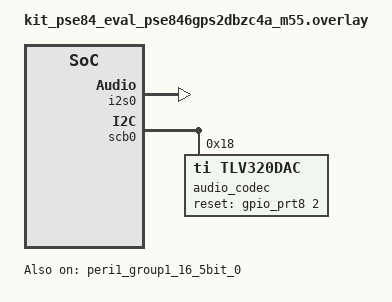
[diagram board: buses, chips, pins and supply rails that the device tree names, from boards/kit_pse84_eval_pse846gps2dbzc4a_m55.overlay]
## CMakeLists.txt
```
# SPDX-License-Identifier: Apache-2.0

cmake_minimum_required(VERSION 3.28.0)

find_package(Zephyr REQUIRED HINTS $ENV{ZEPHYR_BASE})
project(i2s_rx_tx)

target_sources(app PRIVATE src/main.c)
```

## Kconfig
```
# Copyright (c) 2024 NXP
# SPDX-License-Identifier: Apache-2.0

source "Kconfig.zephyr"

config I2S_INIT_BUFFERS
	int "Initial count of audio data blocks"
	default 4
	help
	  Controls the initial count of audio data blocks, which are (optionally)
	  filled by data from the DMIC peripheral and played back by the I2S
	  output peripheral.

config SAMPLE_FREQ
	int "Sample rate"
	default 16000
	help
	  Sample frequency of the system.

config I2S_MCLK_FREQUENCY
	int "MCLK input frequency in Hz"
	default 0
	help
	  Assigns the mclk_freq value in the audio_codec_cfg struct. Some codec
	  drivers depend on this being set.

config SAMPLE_USE_CODEC_CLOCK
	bool "I2S BCK is generated by a selected codec device"
	help
	  If selected, the I2S selected peripheral will be configured to consume
	  (receive) the I2S BCK and WS signals and the codec will be configured
	  to generate those. If not selected, the I2S peripheral will generate
	  them and the codec will be expected to consume them.

config EXTRA_BLOCKS
	int "Number of extra blocks"
	default 32
	help
	  Extra blocks for storing PCM sample.

config SAMPLE_WIDTH
	int "Sample bit width"
	default 16
	help
	  PCM sample bit width.

config BYTES_PER_SAMPLE
	int "Bytes per sample"
	default 2
	help
	  Number of bytes per PCM sample.

config USE_DMIC
	bool "Use DMIC as an audio input"

if USE_DMIC

config DMIC_CHANNELS
	int "Number of DMIC channels"
	default 1
	help
	  Count of DMIC channels to capture and process.

endif
```

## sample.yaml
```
sample:
  name: codec sample
tests:
  sample.drivers.i2s.codec:
    tags: i2s
    platform_allow:
      - mimxrt595_evk/mimxrt595s/cm33
      - mimxrt1170_evk@B/mimxrt1176/cm7
      - mimxrt700_evk/mimxrt798s/cm33_cpu0
      - mimxrt1060_evk/mimxrt1062/qspi
      - mimxrt1180_evk/mimxrt1189/cm33
      - mimxrt1180_evk/mimxrt1189/cm7
      - mcx_n5xx_evk/mcxn547/cpu0
      - lpcxpresso55s69/lpc55s69/cpu0
      - rd_rw612_bga
    harness: console
    harness_config:
      type: one_line
      regex:
        - "start streams"
```

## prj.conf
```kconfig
CONFIG_AUDIO=y
CONFIG_I2S=y
CONFIG_AUDIO=y
CONFIG_AUDIO_DMIC=y
CONFIG_AUDIO_CODEC=y
```

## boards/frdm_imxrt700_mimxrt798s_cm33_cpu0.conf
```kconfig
#
# SPDX-FileCopyrightText: Copyright 2026 NXP
#
# SPDX-License-Identifier: Apache-2.0
#

CONFIG_I2S_INIT_BUFFERS=2
CONFIG_EXTRA_BLOCKS=10
CONFIG_USE_DMIC=y
CONFIG_DMIC_CHANNELS=2
CONFIG_SAMPLE_USE_CODEC_CLOCK=n
CONFIG_SAMPLE_WIDTH=32
CONFIG_BYTES_PER_SAMPLE=4
```

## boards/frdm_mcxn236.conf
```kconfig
# Copyright 2025 NXP
#
# SPDX-License-Identifier: Apache-2.0

CONFIG_SAMPLE_FREQ=16000
CONFIG_I2S_INIT_BUFFERS=1
CONFIG_USE_CODEC_CLOCK=y
CONFIG_USE_DMIC=y
CONFIG_DMIC_CHANNELS=1
CONFIG_EXTRA_BLOCKS=10
CONFIG_SAMPLE_WIDTH=32
CONFIG_BYTES_PER_SAMPLE=4
```

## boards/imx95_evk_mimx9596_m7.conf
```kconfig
# Copyright 2026 NXP
# SPDX-License-Identifier: Apache-2.0
CONFIG_NOCACHE_MEMORY=y
CONFIG_I2S_HAS_PLL_SETTING=n
CONFIG_GPIO=y
CONFIG_GPIO_PCAL64XXA=y
CONFIG_SAMPLE_FREQ=16000
CONFIG_EXTRA_BLOCKS=2
CONFIG_I2S_INIT_BUFFERS=2
CONFIG_USE_DMIC=y
CONFIG_DMIC_CHANNELS=2
CONFIG_SAMPLE_WIDTH=32
CONFIG_BYTES_PER_SAMPLE=4
```

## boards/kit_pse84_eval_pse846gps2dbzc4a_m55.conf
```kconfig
# SPDX-FileCopyrightText: Copyright (c) 2026 Infineon Technologies AG,
# SPDX-FileCopyrightText: or an affiliate of Infineon Technologies AG. All rights reserved.
#
# SPDX-License-Identifier: Apache-2.0

CONFIG_I2S_MCLK_FREQUENCY=10240000
```

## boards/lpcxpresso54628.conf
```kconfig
# SPDX-FileCopyrightText: Copyright The Zephyr Project Contributors
# SPDX-License-Identifier: Apache-2.0

# Sample rate decreased because of memory size
CONFIG_SAMPLE_FREQ=8000
```

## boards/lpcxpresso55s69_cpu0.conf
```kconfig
#
# Copyright 2025 NXP
#
# SPDX-License-Identifier: Apache-2.0
#

CONFIG_SAMPLE_USE_CODEC_CLOCK=y

# Sample rate decreased because of memory size
CONFIG_SAMPLE_FREQ=8000
```

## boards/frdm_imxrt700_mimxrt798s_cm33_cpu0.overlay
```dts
/*
 * SPDX-FileCopyrightText: Copyright 2026 NXP
 *
 * SPDX-License-Identifier: Apache-2.0
 */

/ {
	aliases {
		dmic0 = &dmic_dev;
		i2s-codec-tx = &sai0;
		i2s-tx = &sai0;
	};
};

&sai0 {
	mclk-output;
};

dmic_dev: &micfil {
	status = "okay";
};

&channel0 {
	status = "okay";
};

&channel1 {
	status = "okay";
};
```

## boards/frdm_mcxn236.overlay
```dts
/*
 * Copyright 2025 NXP
 *
 * SPDX-License-Identifier: Apache-2.0
 */

/* Note: The DA7212 codec is not populated on this board by default.
 * Refer to the board MCX_N5XX_EVK to use this sample with the same codec.
 */

/ {
	aliases {
		dmic0 = &dmic_dev;
		i2s-codec-tx = &sai1;
		i2s-tx = &sai1;
	};
};

&sai1 {
	mclk-output;
};

dmic_dev: &micfil {
	channel0: micfil-channel@0 {
		status = "okay";
	};

	channel1: micfil-channel@1 {
		status = "okay";
	};
};
```

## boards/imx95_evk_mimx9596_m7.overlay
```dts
/*
 * SPDX-FileCopyrightText: Copyright 2026 NXP
 *
 * SPDX-License-Identifier: Apache-2.0
 */

/ {
	aliases {
		dmic0 = &dmic_dev;
	};
};

/*
 * MICFIL (PDM) shares pins with FLEXCAN1 on the i.MX95 EVK. Disable
 * FLEXCAN1 so the PDM_CLK/PDM_BIT_STREAM0 pins can be used for MICFIL.
 */
&flexcan1 {
	status = "disabled";
};

dmic_dev: &pdm {
	status = "okay";

	channel0: pdm-channel@0 {
		status = "okay";
	};

	channel1: pdm-channel@1 {
		status = "okay";
	};
};
```

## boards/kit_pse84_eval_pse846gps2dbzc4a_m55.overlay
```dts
/*
 * SPDX-FileCopyrightText: Copyright (c) 2026 Infineon Technologies AG,
 * SPDX-FileCopyrightText: or an affiliate of Infineon Technologies AG. All rights reserved.
 *
 * SPDX-License-Identifier: Apache-2.0
 */

/ {
	aliases {
		i2s-codec-tx = &i2s0;
		i2c-dev = &i2c0;
	};
};

&i2s0 {
	pinctrl-0 = <&p21_3_tdm_i2s0_tx_mck &p21_2_tdm_i2s0_tx_sck
		     &p12_3_tdm_i2s0_tx_fsync &p21_1_tdm_i2s0_tx_sd>;
	pinctrl-names = "default";
	clocks = <&peri1_group1_16_5bit_0>;

	dmas = <&dma0 0>, <&dma0 1>;
	dma-names = "tx", "rx";
	status = "okay";
};

&dma0 {
	status = "okay";
};

&clk_hf7 {
	source-path = <IFX_CLK_HF_IN_CLKPATH3>;
	status = "okay";
};

&peri1_group1_16_5bit_0 {
	clock-div = <4>;
	div-frac-value = <28>;
	status = "okay";
};

&gpio_prt12 {
	status = "okay";
};

&gpio_prt21 {
	status = "okay";
};

&p21_3_tdm_i2s0_tx_mck {
	drive-push-pull;
	drive-strength = "half";
};

&p21_2_tdm_i2s0_tx_sck {
	drive-push-pull;
	drive-strength = "half";
};

&p12_3_tdm_i2s0_tx_fsync {
	drive-push-pull;
	drive-strength = "half";
};

&p21_1_tdm_i2s0_tx_sd {
	drive-push-pull;
	drive-strength = "half";
};

i2c0: &scb0 {
	audio_codec: tlv320dac@18 {
		compatible = "ti,tlv320dac";
		reg = <0x18>;
		reset-gpios = <&gpio_prt8 2 GPIO_ACTIVE_HIGH>;
		speaker-gain = <24>;
		status = "okay";
	};
};
```

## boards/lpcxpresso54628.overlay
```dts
/*
 * SPDX-FileCopyrightText: Copyright The Zephyr Project Contributors
 * SPDX-License-Identifier: Apache-2.0
 */

/ {
	aliases {
		i2s-codec-tx = &i2s_tx;
	};
};
```

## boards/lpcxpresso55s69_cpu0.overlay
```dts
/*
 * Copyright 2025 NXP
 *
 * SPDX-License-Identifier: Apache-2.0
 */

/ {
	aliases {
		i2s-codec-rx = &flexcomm6;
		i2s-codec-tx = &flexcomm7;
	};
};
```

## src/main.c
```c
/*
 * Copyright 2024-2025 NXP
 *
 * SPDX-License-Identifier: Apache-2.0
 */

#include <zephyr/kernel.h>
#include <zephyr/sys/printk.h>
#include <zephyr/audio/dmic.h>
#include <zephyr/drivers/i2s.h>
#include <zephyr/audio/codec.h>
#include <zephyr/toolchain.h>
#include <string.h>

#ifndef CONFIG_USE_DMIC
#include "sine.h"
#endif

#define I2S_CODEC_TX DT_ALIAS(i2s_codec_tx)

#define SAMPLE_FREQUENCY CONFIG_SAMPLE_FREQ
#define SAMPLE_BIT_WIDTH CONFIG_SAMPLE_WIDTH
#define BYTES_PER_SAMPLE CONFIG_BYTES_PER_SAMPLE
#if CONFIG_USE_DMIC
#define NUMBER_OF_CHANNELS CONFIG_DMIC_CHANNELS
#else
#define NUMBER_OF_CHANNELS (2U)
#endif
/* Such block length provides an echo with the delay of 100 ms. */
#define SAMPLES_PER_BLOCK ((SAMPLE_FREQUENCY / 10) * NUMBER_OF_CHANNELS)
#define INITIAL_BLOCKS    CONFIG_I2S_INIT_BUFFERS
#define TIMEOUT           (2000U)

#define BLOCK_SIZE  (BYTES_PER_SAMPLE * SAMPLES_PER_BLOCK)
#define BLOCK_COUNT (INITIAL_BLOCKS + CONFIG_EXTRA_BLOCKS)

K_MEM_SLAB_DEFINE_IN_SECT_STATIC(mem_slab, __nocache, BLOCK_SIZE, BLOCK_COUNT, 4);

static bool configure_tx_streams(const struct device *i2s_dev, struct i2s_config *config)
{
	int ret;

	ret = i2s_configure(i2s_dev, I2S_DIR_TX, config);
	if (ret < 0) {
		printk("Failed to configure codec stream: %d\n", ret);
		return false;
	}

	return true;
}

static bool trigger_command(const struct device *i2s_dev_codec, enum i2s_trigger_cmd cmd)
{
	int ret;

	ret = i2s_trigger(i2s_dev_codec, I2S_DIR_TX, cmd);
	if (ret < 0) {
		printk("Failed to trigger command %d on TX: %d\n", cmd, ret);
		return false;
	}

	return true;
}

int main(void)
{
	const struct device *const i2s_dev_codec = DEVICE_DT_GET(I2S_CODEC_TX);
#if CONFIG_USE_DMIC
	const struct device *const dmic_dev = DEVICE_DT_GET(DT_ALIAS(dmic0));
#endif
	const struct device *const codec_dev = DEVICE_DT_GET(DT_NODELABEL(audio_codec));
	struct i2s_config config = {0};
	struct audio_codec_cfg audio_cfg;
	int ret = 0;

#if CONFIG_USE_DMIC
	struct pcm_stream_cfg stream = {
		.pcm_width = SAMPLE_BIT_WIDTH,
		.mem_slab = &mem_slab,
	};
	struct dmic_cfg cfg = {
		.io = {
			/* These fields can be used to limit the PDM clock
			 * configurations that the driver is allowed to use
			 * to those supported by the microphone.
			 */
			.min_pdm_clk_freq = 1000000,
			.max_pdm_clk_freq = 3500000,
			.min_pdm_clk_dc   = 40,
			.max_pdm_clk_dc   = 60,
		},
		.streams = &stream,
		.channel = {
			.req_num_streams = 1,
		},
	};
#endif
	printk("codec sample\n");

#if CONFIG_USE_DMIC
	if (!device_is_ready(dmic_dev)) {
		printk("%s is not ready", dmic_dev->name);
		return 0;
	}
#endif

	if (!device_is_ready(i2s_dev_codec)) {
		printk("%s is not ready\n", i2s_dev_codec->name);
		return 0;
	}

	if (!device_is_ready(codec_dev)) {
		printk("%s is not ready", codec_dev->name);
		return 0;
	}
	audio_cfg.dai_route = AUDIO_ROUTE_PLAYBACK;
	audio_cfg.dai_type = AUDIO_DAI_TYPE_I2S;
	audio_cfg.dai_cfg.i2s.word_size = SAMPLE_BIT_WIDTH;
	audio_cfg.dai_cfg.i2s.channels = 2;
	audio_cfg.dai_cfg.i2s.format = I2S_FMT_DATA_FORMAT_I2S;
#ifdef CONFIG_SAMPLE_USE_CODEC_CLOCK
	audio_cfg.dai_cfg.i2s.options = I2S_OPT_FRAME_CLK_CONTROLLER |
					 I2S_OPT_BIT_CLK_CONTROLLER;
#else
	audio_cfg.dai_cfg.i2s.options = I2S_OPT_FRAME_CLK_TARGET |
					 I2S_OPT_BIT_CLK_TARGET;
#endif
	audio_cfg.dai_cfg.i2s.frame_clk_freq = SAMPLE_FREQUENCY;
	audio_cfg.dai_cfg.i2s.mem_slab = &mem_slab;
	audio_cfg.dai_cfg.i2s.block_size = BLOCK_SIZE;
	audio_cfg.mclk_freq = CONFIG_I2S_MCLK_FREQUENCY;
	ret = audio_codec_configure(codec_dev, &audio_cfg);
	if (ret < 0) {
		printk("Failed to configure codec: %d\n", ret);
		return ret;
	}
	k_msleep(1000);
	audio_codec_start_output(codec_dev);

#if CONFIG_USE_DMIC
	cfg.channel.req_num_chan = 2;
	cfg.channel.req_chan_map_lo = dmic_build_channel_map(0, 0, PDM_CHAN_LEFT) |
				      dmic_build_channel_map(1, 0, PDM_CHAN_RIGHT);
	cfg.streams[0].pcm_rate = SAMPLE_FREQUENCY;
	cfg.streams[0].block_size = BLOCK_SIZE;

	printk("PCM output rate: %u, channels: %u\n", cfg.streams[0].pcm_rate,
	       cfg.channel.req_num_chan);

	ret = dmic_configure(dmic_dev, &cfg);
	if (ret < 0) {
		printk("Failed to configure the driver: %d", ret);
		return ret;
	}
#endif

	config.word_size = SAMPLE_BIT_WIDTH;
	config.channels = NUMBER_OF_CHANNELS;
	config.format = I2S_FMT_DATA_FORMAT_I2S;
#ifdef CONFIG_SAMPLE_USE_CODEC_CLOCK
	config.options = I2S_OPT_BIT_CLK_TARGET | I2S_OPT_FRAME_CLK_TARGET;
#else
	config.options = I2S_OPT_BIT_CLK_CONTROLLER | I2S_OPT_FRAME_CLK_CONTROLLER;
#endif
	config.frame_clk_freq = SAMPLE_FREQUENCY;
	config.mem_slab = &mem_slab;
	config.block_size = BLOCK_SIZE;
	config.timeout = TIMEOUT;
	if (!configure_tx_streams(i2s_dev_codec, &config)) {
		printk("failure to config streams\n");
		return 0;
	}

	printk("start streams\n");
	for (;;) {
		bool started = false;
#if CONFIG_USE_DMIC
		ret = dmic_trigger(dmic_dev, DMIC_TRIGGER_START);
		if (ret < 0) {
			printk("START trigger failed: %d", ret);
			return ret;
		}
#endif
		while (1) {
			void *mem_block;
			uint32_t block_size = BLOCK_SIZE;
			int i;

			for (i = 0; i < CONFIG_I2S_INIT_BUFFERS; i++) {
#if CONFIG_USE_DMIC
				/* If using DMIC, use a buffer (memory slab) from dmic_read */
				ret = dmic_read(dmic_dev, 0, &mem_block, &block_size, TIMEOUT);
				if (ret < 0) {
					printk("read failed: %d", ret);
					break;
				}

				ret = i2s_write(i2s_dev_codec, mem_block, block_size);
#else
				/* If not using DMIC, play a sine wave 440Hz */

				BUILD_ASSERT(
					BLOCK_SIZE <= __16kHz16bit_stereo_sine_pcm_len,
					"BLOCK_SIZE is bigger than test sine wave buffer size."
				);
				mem_block = (void *)&__16kHz16bit_stereo_sine_pcm;

				ret = i2s_buf_write(i2s_dev_codec, mem_block, block_size);
#endif
				if (ret < 0) {
					printk("Failed to write data: %d\n", ret);
					break;
				}
			}
			if (ret < 0) {
				printk("error %d\n", ret);
				break;
			}
			if (!started) {
				i2s_trigger(i2s_dev_codec, I2S_DIR_TX, I2S_TRIGGER_START);
				started = true;
			}
		}
		if (!trigger_command(i2s_dev_codec, I2S_TRIGGER_DROP)) {
			printk("Send I2S trigger DRAIN failed: %d", ret);
			return 0;
		}
#if CONFIG_USE_DMIC
		ret = dmic_trigger(dmic_dev, DMIC_TRIGGER_STOP);
		if (ret < 0) {
			printk("STOP trigger failed: %d", ret);
			return 0;
		}
#endif
		printk("Streams stopped\n");
		return 0;
	}
}
```
